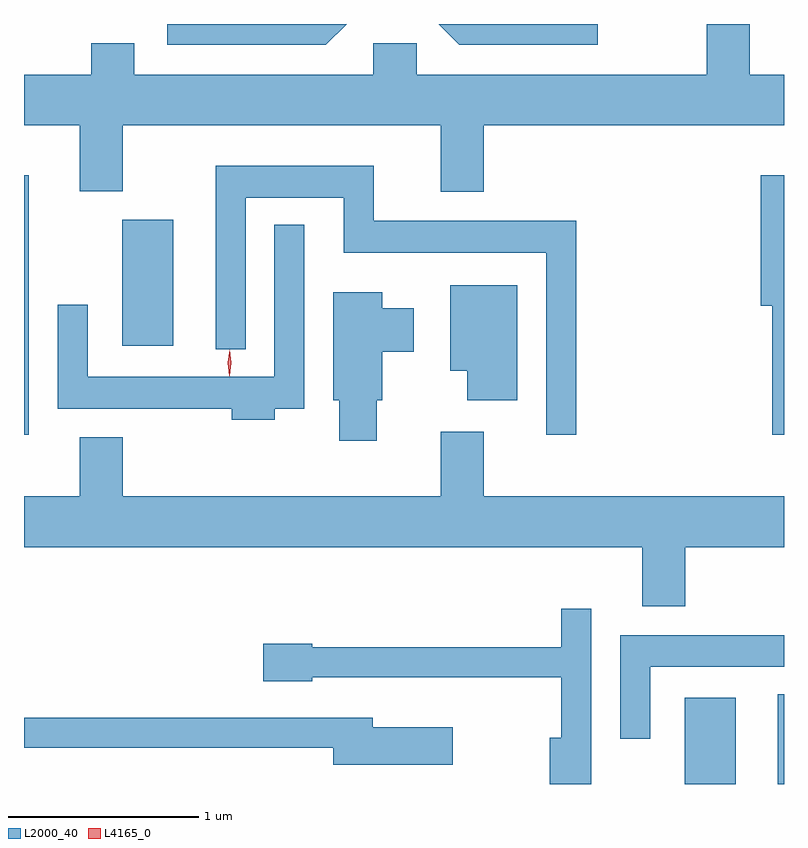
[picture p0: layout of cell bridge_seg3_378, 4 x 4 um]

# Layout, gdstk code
import gdstk
lib = gdstk.Library(unit=1e-6, precision=1e-09)
def R(c, l, rs):  # rectangles x0, y0, x1, y1
    for r in rs: c.add(gdstk.rectangle(r[:2], r[2:], *l))
def P(c, l, *ps):  # polygons
    for p in ps: c.add(gdstk.Polygon(p, *l))
L2000_40 = (2000, 40)
L4165_0 = (4165, 0)

bridge_seg3_378 = lib.new_cell('bridge_seg3_378')
R(bridge_seg3_378, L2000_40, [(549.746,1200.25,550.014,1200.704), (550.236,1200.25,550.268,1200.723), (546.268,1202.088,546.294,1203.454), (546.786,1202.556,547.054,1203.219)])
P(bridge_seg3_378, L2000_40, [(549.289,1204.25),(548.45,1204.25),(548.559,1204.141),(549.289,1204.141)],
  [(547.966,1204.25),(547.021,1204.25),(547.021,1204.141),(547.857,1204.141)],
  [(548.689,1203.716),(550.268,1203.716),(550.268,1203.984),(550.089,1203.984),(550.089,1204.25),(549.861,1204.25),(549.861,1203.984),(548.334,1203.984),(548.334,1204.149),(548.106,1204.149),(548.106,1203.984),(546.849,1203.984),(546.849,1204.149),(546.621,1204.149),(546.621,1203.984),(546.268,1203.984),(546.268,1203.716),(546.561,1203.716),(546.561,1203.371),(546.789,1203.371),(546.789,1203.716),(548.461,1203.716),(548.461,1203.366),(548.689,1203.366)],
  [(549.174,1203.214),(548.109,1203.214),(548.109,1203.504),(547.276,1203.504),(547.276,1202.538),(547.434,1202.538),(547.434,1203.336),(547.951,1203.336),(547.951,1203.046),(549.016,1203.046),(549.016,1202.088),(549.174,1202.088)],
  [(550.268,1203.454),(550.146,1203.454),(550.146,1202.766),(550.206,1202.766),(550.206,1202.088),(550.268,1202.088)],
  [(547.589,1202.226),(547.744,1202.226),(547.744,1203.193),(547.586,1203.193),(547.586,1202.394),(546.604,1202.394),(546.604,1202.773),(546.446,1202.773),(546.446,1202.226),(547.361,1202.226),(547.361,1202.166),(547.589,1202.166)],
  [(548.864,1202.874),(548.511,1202.874),(548.511,1202.426),(548.601,1202.426),(548.601,1202.271),(548.864,1202.271)],
  [(548.124,1202.271),(548.154,1202.271),(548.154,1202.526),(548.319,1202.526),(548.319,1202.754),(548.154,1202.754),(548.154,1202.839),(547.896,1202.839),(547.896,1202.271),(547.926,1202.271),(547.926,1202.056),(548.124,1202.056)],
  [(549.749,1201.496),(550.268,1201.496),(550.268,1201.764),(548.689,1201.764),(548.689,1202.104),(548.461,1202.104),(548.461,1201.764),(546.789,1201.764),(546.789,1202.074),(546.561,1202.074),(546.561,1201.764),(546.268,1201.764),(546.268,1201.496),(549.521,1201.496),(549.521,1201.186),(549.749,1201.186)],
  [(549.254,1201.173),(549.096,1201.173),(549.096,1200.969),(547.784,1200.969),(547.784,1200.989),(547.526,1200.989),(547.526,1200.791),(547.784,1200.791),(547.784,1200.811),(549.096,1200.811),(549.096,1200.494),(549.036,1200.494),(549.036,1200.25),(549.254,1200.25)],
  [(549.564,1200.866),(550.268,1200.866),(550.268,1201.034),(549.406,1201.034),(549.406,1200.488),(549.564,1200.488)],
  [(548.524,1200.549),(548.104,1200.549),(548.104,1200.599),(546.268,1200.599),(546.268,1200.441),(547.896,1200.441),(547.896,1200.351),(548.524,1200.351)])
P(bridge_seg3_378, L4165_0, [(547.35,1202.397),(547.349,1202.398),(547.34,1202.467),(547.35,1202.536),(547.35,1202.536),(547.351,1202.536),(547.36,1202.467),(547.35,1202.398)])

lib.write_gds('bridge_seg3_378.gds')
